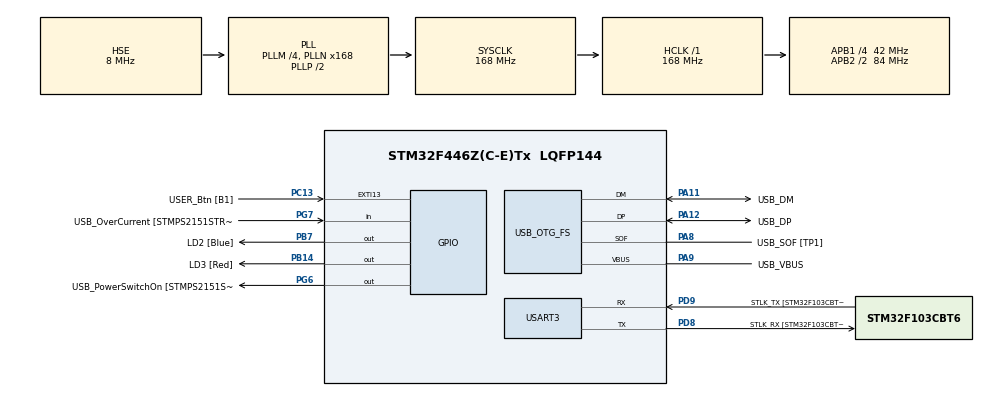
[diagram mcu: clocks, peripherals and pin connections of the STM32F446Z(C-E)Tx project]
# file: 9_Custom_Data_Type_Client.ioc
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FREERTOS.Tasks01=defaultTask,0,128,StartDefaultTask,Default,NULL
Mcu.Family=STM32F4
Mcu.Name=STM32F446Z(C-E)Tx
Mcu.Package=LQFP144
NVIC.PriorityGroup=NVIC_PRIORITYGROUP_4
NVIC.TIM1_UP_TIM10_IRQn=true\:0\:0\:false\:false\:true\:false\:false\:true
NVIC.TimeBase=TIM1_UP_TIM10_IRQn
NVIC.TimeBaseIP=TIM1
PA10.GPIO_Label=USB_ID
PA10.Signal=USB_OTG_FS_ID
PA11.GPIO_Label=USB_DM
PA11.Mode=Device_Only
PA11.Signal=USB_OTG_FS_DM
PA12.GPIO_Label=USB_DP
PA12.Mode=Device_Only
PA12.Signal=USB_OTG_FS_DP
PA13.GPIO_Label=TMS
PA13.Mode=Serial_Wire
PA13.Signal=SYS_JTMS-SWDIO
PA14.GPIO_Label=TCK
PA14.Mode=Serial_Wire
PA14.Signal=SYS_JTCK-SWCLK
PA8.GPIO_Label=USB_SOF [TP1]
PA8.Mode=Activate_SOF_FS
PA8.Signal=USB_OTG_FS_SOF
PA9.GPIO_Label=USB_VBUS
PA9.Mode=Activate_VBUS
PA9.Signal=USB_OTG_FS_VBUS
PB14.GPIO_Label=LD3 [Red]
PB14.Signal=GPIO_Output
PB7.GPIO_Label=LD2 [Blue]
PB7.Signal=GPIO_Output
PC13.GPIO_Label=USER_Btn [B1]
PC13.Signal=GPXTI13
PC14-OSC32_IN.Mode=LSE-External-Oscillator
PC14-OSC32_IN.Signal=RCC_OSC32_IN
PC15-OSC32_OUT.Mode=LSE-External-Oscillator
PC15-OSC32_OUT.Signal=RCC_OSC32_OUT
PD8.GPIO_Label=STLK_RX [STM32F103CBT6_PA3]
PD8.Mode=Asynchronous
PD8.Signal=USART3_TX
PD9.GPIO_Label=STLK_TX [STM32F103CBT6_PA2]
PD9.Mode=Asynchronous
PD9.Signal=USART3_RX
PG6.GPIO_Label=USB_PowerSwitchOn [STMPS2151STR_EN]
PG6.Signal=GPIO_Output
PG7.GPIO_Label=USB_OverCurrent [STMPS2151STR_FAULT]
PG7.Signal=GPIO_Input
PH0-OSC_IN.GPIO_Label=MCO [STM32F103CBT6_PA8]
PH0-OSC_IN.Mode=HSE-External-Clock-Source
PH0-OSC_IN.Signal=RCC_OSC_IN
PH1-OSC_OUT.Mode=HSE-External-Clock-Source
PH1-OSC_OUT.Signal=RCC_OSC_OUT
ProjectManager.HeapSize=0x200
ProjectManager.StackSize=0x400
ProjectManager.TargetToolchain=STM32CubeIDE
RCC.48MHZClocksFreq_Value=24000000
RCC.AHBFreq_Value=168000000
RCC.APB1CLKDivider=RCC_HCLK_DIV4
RCC.APB1Freq_Value=42000000
RCC.APB1TimFreq_Value=84000000
RCC.APB2CLKDivider=RCC_HCLK_DIV2
RCC.APB2Freq_Value=84000000
RCC.APB2TimFreq_Value=168000000
RCC.CortexFreq_Value=168000000
RCC.HCLKFreq_Value=168000000
RCC.HSE_VALUE=8000000
RCC.HSI_VALUE=16000000
RCC.PLLM=4
RCC.PLLMUL=RCC_PLL_MUL9
RCC.PLLN=168
RCC.PLLQ=7
RCC.PRESCALERUSB=RCC_USBCLKSOURCE_PLL_DIV1_5
RCC.SYSCLKFreq_VALUE=168000000
RCC.SYSCLKSource=RCC_SYSCLKSOURCE_PLLCLK
RCC.SYSCLKSourceVirtual=RCC_SYSCLKSOURCE_PLLCLK
RCC.USBFreq_Value=48000000
RCC.VCOOutputFreq_Value=336000000
USART3.VirtualMode=VM_ASYNC
USB_OTG_FS.VirtualMode=Device_Only
VP_FREERTOS_VS_CMSIS_V1.Mode=CMSIS_V1
VP_SYS_VS_tim1.Mode=TIM1
board=NUCLEO-F446ZE

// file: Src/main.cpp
/* USER CODE BEGIN Header */
/**
  ******************************************************************************
  * @file           : main.c
  * @brief          : Main program body
  ******************************************************************************
  * @attention
  *
  * <h2><center>&copy; Copyright (c) 2019 STMicroelectronics.
  * All rights reserved.</center></h2>
  *
  * This software component is licensed by ST under BSD 3-Clause license,
  * the "License"; You may not use this file except in compliance with the
  * License. You may obtain a copy of the License at:
  *                        opensource.org/licenses/BSD-3-Clause
  *
  ******************************************************************************
  */
/* USER CODE END Header */

#include "main.h"
#include "cmsis_os.h"

/* USER CODE BEGIN Includes */
#include <uavcan_stm32/uavcan_stm32.hpp>
#include <uavcan/uavcan.hpp>

#include <custom_data_types/MyNumber.hpp>
//#include <custom_data_types/PointXY.hpp>
/* USER CODE END Includes */

/* USER CODE BEGIN PD */
#define CAN_THRAD_STACK_SIZE 512

#define DEBUG_BUFFER_SIZE    (256)
#define DEBUG_TIMEOUT        (1000)
/* USER CODE END PD */

UART_HandleTypeDef huart3;

PCD_HandleTypeDef hpcd_USB_OTG_FS;

osThreadId defaultTaskHandle;
/* USER CODE BEGIN PV */
uint32_t defaultTaskBuffer[ CAN_THRAD_STACK_SIZE ];
osStaticThreadDef_t defaultTaskControlBlock;

osSemaphoreId DEBUG_TX_completeID;
osSemaphoreDef(DEBUG_TX_complete);
uint8_t DEBUG_TX_Buffer[DEBUG_BUFFER_SIZE] = {0};  //!< Debug buffer.
/* USER CODE END PV */

void SystemClock_Config(void);
static void MX_GPIO_Init(void);
static void MX_USART3_UART_Init(void);
static void MX_USB_OTG_FS_PCD_Init(void);

/* USER CODE BEGIN PFP */
extern "C" {
	void StartDefaultTask(void const * argument);
}

bool DEBUG_Init(void);
void DEBUG_Printf(const char *fmt, ...);
/* USER CODE END PFP */

/* USER CODE BEGIN 0 */
constexpr unsigned NodePoolSize = 8192;
uavcan_stm32::CanInitHelper<> can;

uavcan::Node<NodePoolSize>& getNode() {
    static uavcan::Node<NodePoolSize> node(can.driver, uavcan_stm32::SystemClock::instance());
    return node;
}
/* USER CODE END 0 */

int main(void)
{

  /* MCU Configuration--------------------------------------------------------*/

  /* Reset of all peripherals, Initializes the Flash interface and the Systick. */
  HAL_Init();

  /* Configure the system clock */
  SystemClock_Config();

  /* Initialize all configured peripherals */
  MX_GPIO_Init();
  MX_USART3_UART_Init();
  MX_USB_OTG_FS_PCD_Init();
  /* USER CODE BEGIN 2 */
  GPIO_InitTypeDef GPIO_InitStruct = {0};

  __HAL_RCC_CAN1_CLK_ENABLE();

  __HAL_RCC_GPIOD_CLK_ENABLE();
  /**CAN1 GPIO Configuration
  PD0     ------> CAN1_RX
  PD1     ------> CAN1_TX
  */
  GPIO_InitStruct.Pin = GPIO_PIN_0|GPIO_PIN_1;
  GPIO_InitStruct.Mode = GPIO_MODE_AF_PP;
  GPIO_InitStruct.Pull = GPIO_NOPULL;
  GPIO_InitStruct.Speed = GPIO_SPEED_FREQ_VERY_HIGH;
  GPIO_InitStruct.Alternate = GPIO_AF9_CAN1;
  HAL_GPIO_Init(GPIOD, &GPIO_InitStruct);

  DEBUG_Init();
  /* USER CODE END 2 */

  /* Create the thread(s) */
  /* definition and creation of defaultTask */
  osThreadStaticDef(defaultTask, StartDefaultTask, osPriorityNormal, 0, CAN_THRAD_STACK_SIZE, defaultTaskBuffer, &defaultTaskControlBlock);
  defaultTaskHandle = osThreadCreate(osThread(defaultTask), NULL);

  /* Start scheduler */
  osKernelStart();

  /* We should never get here as control is now taken by the scheduler */

  /* Infinite loop */
  while (1)
  {

  }
}

void SystemClock_Config(void)
{
  RCC_OscInitTypeDef RCC_OscInitStruct = {0};
  RCC_ClkInitTypeDef RCC_ClkInitStruct = {0};
  RCC_PeriphCLKInitTypeDef PeriphClkInitStruct = {0};

  /** Configure the main internal regulator output voltage
  */
  __HAL_RCC_PWR_CLK_ENABLE();
  __HAL_PWR_VOLTAGESCALING_CONFIG(PWR_REGULATOR_VOLTAGE_SCALE1);
  /** Initializes the CPU, AHB and APB busses clocks
  */
  RCC_OscInitStruct.OscillatorType = RCC_OSCILLATORTYPE_HSE;
  RCC_OscInitStruct.HSEState = RCC_HSE_BYPASS;
  RCC_OscInitStruct.PLL.PLLState = RCC_PLL_ON;
  RCC_OscInitStruct.PLL.PLLSource = RCC_PLLSOURCE_HSE;
  RCC_OscInitStruct.PLL.PLLM = 4;
  RCC_OscInitStruct.PLL.PLLN = 168;
  RCC_OscInitStruct.PLL.PLLP = RCC_PLLP_DIV2;
  RCC_OscInitStruct.PLL.PLLQ = 7;
  RCC_OscInitStruct.PLL.PLLR = 2;
  if (HAL_RCC_OscConfig(&RCC_OscInitStruct) != HAL_OK)
  {
    Error_Handler();
  }
  /** Initializes the CPU, AHB and APB busses clocks
  */
  RCC_ClkInitStruct.ClockType = RCC_CLOCKTYPE_HCLK|RCC_CLOCKTYPE_SYSCLK
                              |RCC_CLOCKTYPE_PCLK1|RCC_CLOCKTYPE_PCLK2;
  RCC_ClkInitStruct.SYSCLKSource = RCC_SYSCLKSOURCE_PLLCLK;
  RCC_ClkInitStruct.AHBCLKDivider = RCC_SYSCLK_DIV1;
  RCC_ClkInitStruct.APB1CLKDivider = RCC_HCLK_DIV4;
  RCC_ClkInitStruct.APB2CLKDivider = RCC_HCLK_DIV2;

  if (HAL_RCC_ClockConfig(&RCC_ClkInitStruct, FLASH_LATENCY_5) != HAL_OK)
  {
    Error_Handler();
  }
  PeriphClkInitStruct.PeriphClockSelection = RCC_PERIPHCLK_CLK48;
  PeriphClkInitStruct.Clk48ClockSelection = RCC_CLK48CLKSOURCE_PLLQ;
  if (HAL_RCCEx_PeriphCLKConfig(&PeriphClkInitStruct) != HAL_OK)
  {
    Error_Handler();
  }
}

static void MX_USART3_UART_Init(void)
{

  huart3.Instance = USART3;
  huart3.Init.BaudRate = 115200;
  huart3.Init.WordLength = UART_WORDLENGTH_8B;
  huart3.Init.StopBits = UART_STOPBITS_1;
  huart3.Init.Parity = UART_PARITY_NONE;
  huart3.Init.Mode = UART_MODE_TX_RX;
  huart3.Init.HwFlowCtl = UART_HWCONTROL_NONE;
  huart3.Init.OverSampling = UART_OVERSAMPLING_16;
  if (HAL_UART_Init(&huart3) != HAL_OK)
  {
    Error_Handler();
  }

}

static void MX_USB_OTG_FS_PCD_Init(void)
{

  hpcd_USB_OTG_FS.Instance = USB_OTG_FS;
  hpcd_USB_OTG_FS.Init.dev_endpoints = 6;
  hpcd_USB_OTG_FS.Init.speed = PCD_SPEED_FULL;
  hpcd_USB_OTG_FS.Init.dma_enable = DISABLE;
  hpcd_USB_OTG_FS.Init.phy_itface = PCD_PHY_EMBEDDED;
  hpcd_USB_OTG_FS.Init.Sof_enable = ENABLE;
  hpcd_USB_OTG_FS.Init.low_power_enable = DISABLE;
  hpcd_USB_OTG_FS.Init.lpm_enable = DISABLE;
  hpcd_USB_OTG_FS.Init.vbus_sensing_enable = ENABLE;
  hpcd_USB_OTG_FS.Init.use_dedicated_ep1 = DISABLE;
  if (HAL_PCD_Init(&hpcd_USB_OTG_FS) != HAL_OK)
  {
    Error_Handler();
  }

}

static void MX_GPIO_Init(void)
{
  GPIO_InitTypeDef GPIO_InitStruct = {0};

  /* GPIO Ports Clock Enable */
  __HAL_RCC_GPIOC_CLK_ENABLE();
  __HAL_RCC_GPIOH_CLK_ENABLE();
  __HAL_RCC_GPIOB_CLK_ENABLE();
  __HAL_RCC_GPIOD_CLK_ENABLE();
  __HAL_RCC_GPIOG_CLK_ENABLE();
  __HAL_RCC_GPIOA_CLK_ENABLE();

  /*Configure GPIO pin Output Level */
  HAL_GPIO_WritePin(GPIOB, LD3_Pin|LD2_Pin, GPIO_PIN_RESET);

  /*Configure GPIO pin Output Level */
  HAL_GPIO_WritePin(USB_PowerSwitchOn_GPIO_Port, USB_PowerSwitchOn_Pin, GPIO_PIN_RESET);

  /*Configure GPIO pin : USER_Btn_Pin */
  GPIO_InitStruct.Pin = USER_Btn_Pin;
  GPIO_InitStruct.Mode = GPIO_MODE_IT_RISING;
  GPIO_InitStruct.Pull = GPIO_NOPULL;
  HAL_GPIO_Init(USER_Btn_GPIO_Port, &GPIO_InitStruct);

  /*Configure GPIO pins : LD3_Pin LD2_Pin */
  GPIO_InitStruct.Pin = LD3_Pin|LD2_Pin;
  GPIO_InitStruct.Mode = GPIO_MODE_OUTPUT_PP;
  GPIO_InitStruct.Pull = GPIO_NOPULL;
  GPIO_InitStruct.Speed = GPIO_SPEED_FREQ_LOW;
  HAL_GPIO_Init(GPIOB, &GPIO_InitStruct);

  /*Configure GPIO pin : USB_PowerSwitchOn_Pin */
  GPIO_InitStruct.Pin = USB_PowerSwitchOn_Pin;
  GPIO_InitStruct.Mode = GPIO_MODE_OUTPUT_PP;
  GPIO_InitStruct.Pull = GPIO_NOPULL;
  GPIO_InitStruct.Speed = GPIO_SPEED_FREQ_LOW;
  HAL_GPIO_Init(USB_PowerSwitchOn_GPIO_Port, &GPIO_InitStruct);

  /*Configure GPIO pin : USB_OverCurrent_Pin */
  GPIO_InitStruct.Pin = USB_OverCurrent_Pin;
  GPIO_InitStruct.Mode = GPIO_MODE_INPUT;
  GPIO_InitStruct.Pull = GPIO_NOPULL;
  HAL_GPIO_Init(USB_OverCurrent_GPIO_Port, &GPIO_InitStruct);

}

/* USER CODE BEGIN 4 */
bool DEBUG_Init(void)
{
    if ((DEBUG_TX_completeID = osSemaphoreCreate(osSemaphore(DEBUG_TX_complete), 1)) == NULL)
    {
        return false;
    }
    return true;
}

void DEBUG_Printf(const char *fmt, ...)
{
    uint16_t i = 0;
    va_list args;
    if (osSemaphoreWait(DEBUG_TX_completeID, 1000) == osOK)
    {
        va_start(args, fmt);
        i = vsnprintf((char*) DEBUG_TX_Buffer, DEBUG_BUFFER_SIZE - 1, fmt, args);
        DEBUG_TX_Buffer[i] = 0x00;

        uint16_t retry = 4096;

        while ((retry--)&&(HAL_UART_Transmit(&huart3, &DEBUG_TX_Buffer[0], strlen((char*)&DEBUG_TX_Buffer[0]), 0xFFF) != HAL_OK));

        va_end(args);
        osSemaphoreRelease(DEBUG_TX_completeID);
    }
    return;
}
/* USER CODE END 4 */

void StartDefaultTask(void const * argument)
{

  /* USER CODE BEGIN 5 */
	uint32_t value = 1000000;

	can.init(value);

	getNode().setName("org.test.CustomDataTypesClient");
	getNode().setNodeID(6);

	if (getNode().start() < 0) {
		DEBUG_Printf("UAVCAN start fail\r\n");
	    while (1);
	}

	//using custom_data_types::PointXY;
	using custom_data_types::MyNumber;
	uavcan::ServiceClient<MyNumber> client(getNode());

/*
    auto regist_result =
        uavcan::GlobalDataTypeRegistry::instance().registerDataType<PerformLinearLeastSquaresFit>(244);
    if (regist_result != uavcan::GlobalDataTypeRegistry::RegistrationResultOk)
    {
    	DEBUG_Printf("Failed to register the data type 1\r\n");
    }
*/

    const int client_init_res = client.init();
    if (client_init_res < 0)
    {
    	DEBUG_Printf("Failed to init the cln_least_squares\r\n");
    }

    client.setCallback([](const uavcan::ServiceCallResult<MyNumber>& call_result)
    {

    	if (call_result.isSuccessful())  // Whether the call was successful, i.e. whether the response was received
    	{
    		DEBUG_Printf("SUCCSESS\r\n");
    	}
    	else
    	{
    		DEBUG_Printf("Service call to node %d has failed\r\n", static_cast<int>(call_result.getCallID().server_node_id.get()));
    	}
    });

    MyNumber::Request request;

	getNode().setModeOperational();

  /* Infinite loop */
  for(;;)
  {
	   const int res = getNode().spin(uavcan::MonotonicDuration::fromMSec(500));
	    if (res < 0) {
	    	DEBUG_Printf("UAVCAN spin fail\r\n");
	    	while(1);
	    }

	    const int call_res = client.call(5, request);
	    if (call_res < 0)
	    {
	    	DEBUG_Printf("Unable to perform service call:\r\n");
	    }

  }
  /* USER CODE END 5 */
}

void HAL_TIM_PeriodElapsedCallback(TIM_HandleTypeDef *htim)
{
  if (htim->Instance == TIM1) {
    HAL_IncTick();
  }
}

void Error_Handler(void)
{
}

/************************ (C) COPYRIGHT STMicroelectronics *****END OF FILE****/
